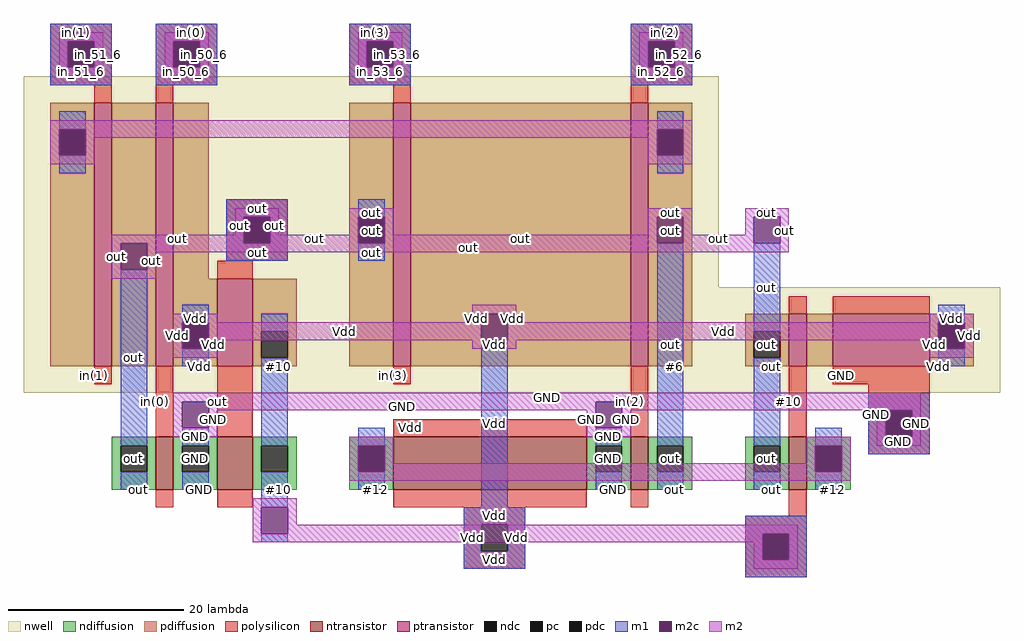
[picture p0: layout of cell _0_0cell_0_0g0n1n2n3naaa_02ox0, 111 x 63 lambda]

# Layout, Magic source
magic
tech sky130l
<< nwell >>
rect 5 37 84 61
rect 5 25 116 37
<< ndiffusion >>
rect 15 19 20 20
rect 15 16 16 19
rect 19 16 20 19
rect 15 14 20 16
rect 22 19 27 20
rect 22 16 23 19
rect 26 16 27 19
rect 22 14 27 16
rect 31 19 36 20
rect 31 16 32 19
rect 35 16 36 19
rect 31 14 36 16
rect 42 19 47 20
rect 42 16 43 19
rect 46 16 47 19
rect 42 14 47 16
rect 69 19 74 20
rect 69 16 70 19
rect 73 16 74 19
rect 69 14 74 16
rect 76 19 81 20
rect 76 16 77 19
rect 80 16 81 19
rect 76 14 81 16
rect 87 19 92 20
rect 87 16 88 19
rect 91 16 92 19
rect 87 14 92 16
rect 94 19 99 20
rect 94 16 95 19
rect 98 16 99 19
rect 94 14 99 16
<< ndc >>
rect 16 16 19 19
rect 23 16 26 19
rect 32 16 35 19
rect 43 16 46 19
rect 70 16 73 19
rect 77 16 80 19
rect 88 16 91 19
rect 95 16 98 19
<< ntransistor >>
rect 20 14 22 20
rect 27 14 31 20
rect 47 14 69 20
rect 74 14 76 20
rect 92 14 94 20
<< pdiffusion >>
rect 8 55 13 58
rect 8 52 9 55
rect 12 52 13 55
rect 8 28 13 52
rect 15 28 20 58
rect 22 38 26 58
rect 42 45 47 58
rect 42 42 43 45
rect 46 42 47 45
rect 22 33 27 38
rect 22 30 23 33
rect 26 30 27 33
rect 22 28 27 30
rect 31 32 36 38
rect 31 29 32 32
rect 35 29 36 32
rect 31 28 36 29
rect 42 28 47 42
rect 49 28 74 58
rect 76 55 81 58
rect 76 52 77 55
rect 80 52 81 55
rect 76 28 81 52
rect 87 32 92 34
rect 87 29 88 32
rect 91 29 92 32
rect 87 28 92 29
rect 94 28 97 34
rect 108 33 113 34
rect 108 30 109 33
rect 112 30 113 33
rect 108 28 113 30
<< pdc >>
rect 9 52 12 55
rect 43 42 46 45
rect 23 30 26 33
rect 32 29 35 32
rect 77 52 80 55
rect 88 29 91 32
rect 109 30 112 33
<< ptransistor >>
rect 13 28 15 58
rect 20 28 22 58
rect 27 28 31 38
rect 47 28 49 58
rect 74 28 76 58
rect 92 28 94 34
rect 97 28 108 34
<< polysilicon >>
rect 8 65 15 67
rect 8 62 10 65
rect 13 62 15 65
rect 8 60 15 62
rect 13 58 15 60
rect 20 65 27 67
rect 20 62 22 65
rect 25 62 27 65
rect 20 60 27 62
rect 42 65 49 67
rect 42 62 44 65
rect 47 62 49 65
rect 42 60 49 62
rect 20 58 22 60
rect 47 58 49 60
rect 74 65 81 67
rect 74 62 76 65
rect 79 62 81 65
rect 74 60 81 62
rect 74 58 76 60
rect 28 45 35 47
rect 28 42 30 45
rect 33 42 35 45
rect 28 40 35 42
rect 27 38 31 40
rect 92 34 94 36
rect 97 34 108 36
rect 13 26 15 28
rect 20 20 22 28
rect 27 20 31 28
rect 47 26 49 28
rect 47 20 69 22
rect 74 20 76 28
rect 92 20 94 28
rect 97 26 108 28
rect 101 23 108 26
rect 101 20 103 23
rect 106 20 108 23
rect 101 18 108 20
rect 20 12 22 14
rect 27 12 31 14
rect 47 12 69 14
rect 74 12 76 14
rect 55 10 62 12
rect 92 11 94 14
rect 55 7 57 10
rect 60 7 62 10
rect 55 5 62 7
rect 87 9 94 11
rect 87 6 89 9
rect 92 6 94 9
rect 87 4 94 6
<< pc >>
rect 10 62 13 65
rect 22 62 25 65
rect 44 62 47 65
rect 76 62 79 65
rect 30 42 33 45
rect 103 20 106 23
rect 57 7 60 10
rect 89 6 92 9
<< m1 >>
rect 8 65 15 67
rect 8 62 10 65
rect 13 62 15 65
rect 8 60 15 62
rect 20 65 27 67
rect 20 62 22 65
rect 25 62 27 65
rect 20 60 27 62
rect 42 65 49 67
rect 42 62 44 65
rect 47 62 49 65
rect 42 60 49 62
rect 74 65 81 67
rect 74 62 76 65
rect 79 62 81 65
rect 74 60 81 62
rect 9 55 12 57
rect 9 50 12 52
rect 77 55 80 57
rect 77 50 80 52
rect 28 45 35 47
rect 28 42 30 45
rect 33 42 35 45
rect 28 40 35 42
rect 43 45 46 47
rect 43 40 46 42
rect 16 19 19 39
rect 23 33 26 35
rect 23 28 26 30
rect 32 32 35 34
rect 16 14 19 16
rect 23 19 26 21
rect 23 14 26 16
rect 32 19 35 29
rect 32 12 35 16
rect 43 19 46 21
rect 43 14 46 16
rect 57 12 60 31
rect 70 19 73 21
rect 70 14 73 16
rect 77 19 80 42
rect 77 14 80 16
rect 88 32 91 42
rect 88 19 91 29
rect 109 33 112 35
rect 109 28 112 30
rect 101 23 108 25
rect 88 14 91 16
rect 95 19 98 21
rect 101 20 103 23
rect 106 20 108 23
rect 101 18 108 20
rect 95 14 98 16
rect 32 8 35 9
rect 55 10 62 12
rect 55 7 57 10
rect 60 7 62 10
rect 55 5 62 7
rect 87 9 94 11
rect 87 6 89 9
rect 92 6 94 9
rect 87 4 94 6
<< m2c >>
rect 10 62 13 65
rect 22 62 25 65
rect 44 62 47 65
rect 76 62 79 65
rect 9 52 12 55
rect 77 52 80 55
rect 30 42 33 45
rect 16 39 19 42
rect 43 42 46 45
rect 77 42 80 45
rect 23 30 26 33
rect 23 21 26 24
rect 57 31 60 34
rect 43 16 46 19
rect 70 21 73 24
rect 88 42 91 45
rect 109 30 112 33
rect 95 16 98 19
rect 103 20 106 23
rect 32 9 35 12
rect 89 6 92 9
<< m2 >>
rect 9 65 14 66
rect 9 62 10 65
rect 13 62 14 65
rect 9 61 14 62
rect 21 65 26 66
rect 21 62 22 65
rect 25 62 26 65
rect 21 61 26 62
rect 43 65 48 66
rect 43 62 44 65
rect 47 62 48 65
rect 43 61 48 62
rect 75 65 80 66
rect 75 62 76 65
rect 79 62 80 65
rect 75 61 80 62
rect 8 55 81 56
rect 8 52 9 55
rect 12 54 77 55
rect 12 52 13 54
rect 8 51 13 52
rect 76 52 77 54
rect 80 52 81 55
rect 76 51 81 52
rect 29 45 34 46
rect 29 43 30 45
rect 15 42 30 43
rect 33 43 34 45
rect 42 45 47 46
rect 42 43 43 45
rect 33 42 43 43
rect 46 43 47 45
rect 76 45 81 46
rect 76 43 77 45
rect 46 42 77 43
rect 80 43 81 45
rect 87 45 92 46
rect 87 43 88 45
rect 80 42 88 43
rect 91 42 92 45
rect 15 39 16 42
rect 19 41 92 42
rect 19 39 20 41
rect 15 38 20 39
rect 56 34 61 35
rect 22 33 27 34
rect 56 33 57 34
rect 22 30 23 33
rect 26 31 57 33
rect 60 33 61 34
rect 108 33 113 34
rect 60 31 109 33
rect 26 30 27 31
rect 56 30 61 31
rect 108 30 109 31
rect 112 30 113 33
rect 22 29 27 30
rect 108 29 113 30
rect 22 24 107 25
rect 22 21 23 24
rect 26 23 70 24
rect 26 21 27 23
rect 22 20 27 21
rect 69 21 70 23
rect 73 23 107 24
rect 73 21 74 23
rect 101 22 103 23
rect 69 20 74 21
rect 102 20 103 22
rect 106 20 107 23
rect 42 19 47 20
rect 42 16 43 19
rect 46 17 47 19
rect 94 19 99 20
rect 102 19 107 20
rect 94 17 95 19
rect 46 16 95 17
rect 98 16 99 19
rect 42 15 99 16
rect 31 12 36 13
rect 31 9 32 12
rect 35 10 36 12
rect 35 9 93 10
rect 31 8 89 9
rect 88 6 89 8
rect 92 6 93 9
rect 88 5 93 6
<< labels >>
flabel polysilicon 92 24 92 24 3 FreeSerif 8 0 0 0 #10
flabel polysilicon 98 27 98 27 3 FreeSerif 8 0 0 0 GND
flabel pdiffusion 109 28 109 28 1 FreeSerif 8 0 0 0 Vdd
flabel ndiffusion 97 14 97 14 1 FreeSerif 8 0 0 0 #12
flabel ndiffusion 90 14 90 14 1 FreeSerif 8 0 0 0 out
flabel ndiffusion 79 14 79 14 1 FreeSerif 8 0 0 0 out
flabel ndiffusion 72 14 72 14 1 FreeSerif 8 0 0 0 GND
flabel polysilicon 49 21 49 21 1 FreeSerif 8 0 0 0 Vdd
flabel ndiffusion 45 14 45 14 1 FreeSerif 8 0 0 0 #12
flabel ndiffusion 34 14 34 14 1 FreeSerif 8 0 0 0 #10
flabel ndiffusion 25 14 25 14 1 FreeSerif 8 0 0 0 GND
flabel ndiffusion 18 14 18 14 1 FreeSerif 8 0 0 0 out
flabel polysilicon 13 27 13 27 3 FreeSerif 8 0 0 0 in(1)
flabel polysilicon 20 24 20 24 3 FreeSerif 8 0 0 0 in(0)
flabel polysilicon 27 24 27 24 3 FreeSerif 8 0 0 0 out
flabel polysilicon 47 27 47 27 3 FreeSerif 8 0 0 0 in(3)
flabel pdiffusion 45 28 45 28 1 FreeSerif 8 0 0 0 out
flabel pdiffusion 25 28 25 28 1 FreeSerif 8 0 0 0 Vdd
flabel pdiffusion 11 28 11 28 1 FreeSerif 8 0 0 0 #6
flabel pdiffusion 34 28 34 28 1 FreeSerif 8 0 0 0 #10
flabel pdiffusion 79 28 79 28 1 FreeSerif 8 0 0 0 #6
flabel pdiffusion 90 28 90 28 1 FreeSerif 8 0 0 0 out
flabel polysilicon 74 24 74 24 3 FreeSerif 8 0 0 0 in(2)
flabel m2 s 106 20 107 23 3 FreeSerif 8 0 0 0 GND
port 1 nsew ground input
flabel m2 s 56 30 61 31 1 FreeSerif 8 0 0 0 Vdd
port 2 nsew power input
flabel m2 45 66 45 66 1 FreeSerif 8 0 0 0 in(3)
port 3 n
flabel m2 78 66 78 66 1 FreeSerif 8 0 0 0 in(2)
port 4 n
flabel m2 11 66 11 66 1 FreeSerif 8 0 0 0 in(1)
port 5 n
flabel m2 s 87 45 92 46 1 FreeSerif 8 0 0 0 out
port 6 nsew signal output
flabel m2 24 66 24 66 1 FreeSerif 8 0 0 0 in(0)
port 7 n
rlabel m2 s 25 62 26 65 5 in_50_6
port 1 nsew signal input
rlabel m2 s 22 62 25 65 5 in_50_6
port 1 nsew signal input
rlabel m2 s 21 62 22 65 5 in_50_6
port 1 nsew signal input
rlabel m2 s 21 61 26 62 1 in_50_6
port 1 nsew signal input
rlabel m2 s 21 65 26 66 5 in_50_6
port 1 nsew signal input
rlabel m1 s 25 62 27 65 5 in_50_6
port 1 nsew signal input
rlabel m1 s 22 62 25 65 5 in_50_6
port 1 nsew signal input
rlabel m1 s 20 60 27 62 1 in_50_6
port 1 nsew signal input
rlabel m1 s 20 62 22 65 5 in_50_6
port 1 nsew signal input
rlabel m1 s 20 65 27 67 5 in_50_6
port 1 nsew signal input
rlabel m2 s 13 62 14 65 5 in_51_6
port 2 nsew signal input
rlabel m2 s 10 62 13 65 5 in_51_6
port 2 nsew signal input
rlabel m2 s 9 61 14 62 1 in_51_6
port 2 nsew signal input
rlabel m2 s 9 62 10 65 4 in_51_6
port 2 nsew signal input
rlabel m2 s 9 65 14 66 5 in_51_6
port 2 nsew signal input
rlabel m1 s 13 62 15 65 5 in_51_6
port 2 nsew signal input
rlabel m1 s 10 62 13 65 5 in_51_6
port 2 nsew signal input
rlabel m1 s 8 60 15 62 1 in_51_6
port 2 nsew signal input
rlabel m1 s 8 62 10 65 4 in_51_6
port 2 nsew signal input
rlabel m1 s 8 65 15 67 5 in_51_6
port 2 nsew signal input
rlabel m2 s 79 62 80 65 5 in_52_6
port 3 nsew signal input
rlabel m2 s 76 62 79 65 5 in_52_6
port 3 nsew signal input
rlabel m2 s 75 62 76 65 5 in_52_6
port 3 nsew signal input
rlabel m2 s 75 61 80 62 1 in_52_6
port 3 nsew signal input
rlabel m2 s 75 65 80 66 5 in_52_6
port 3 nsew signal input
rlabel m1 s 79 62 81 65 5 in_52_6
port 3 nsew signal input
rlabel m1 s 76 62 79 65 5 in_52_6
port 3 nsew signal input
rlabel m1 s 74 60 81 62 1 in_52_6
port 3 nsew signal input
rlabel m1 s 74 62 76 65 5 in_52_6
port 3 nsew signal input
rlabel m1 s 74 65 81 67 5 in_52_6
port 3 nsew signal input
rlabel m2 s 47 62 48 65 5 in_53_6
port 4 nsew signal input
rlabel m2 s 44 62 47 65 5 in_53_6
port 4 nsew signal input
rlabel m2 s 43 62 44 65 5 in_53_6
port 4 nsew signal input
rlabel m2 s 43 61 48 62 1 in_53_6
port 4 nsew signal input
rlabel m2 s 43 65 48 66 5 in_53_6
port 4 nsew signal input
rlabel m1 s 47 62 49 65 5 in_53_6
port 4 nsew signal input
rlabel m1 s 44 62 47 65 5 in_53_6
port 4 nsew signal input
rlabel m1 s 42 60 49 62 1 in_53_6
port 4 nsew signal input
rlabel m1 s 42 62 44 65 5 in_53_6
port 4 nsew signal input
rlabel m1 s 42 65 49 67 5 in_53_6
port 4 nsew signal input
rlabel m2 s 91 42 92 45 1 out
port 6 nsew signal output
rlabel m2 s 87 43 88 45 1 out
port 6 nsew signal output
rlabel m2 s 88 42 91 45 1 out
port 6 nsew signal output
rlabel m2 s 76 45 81 46 1 out
port 6 nsew signal output
rlabel m2 s 80 42 88 43 1 out
port 6 nsew signal output
rlabel m2 s 80 43 81 45 1 out
port 6 nsew signal output
rlabel m2 s 76 43 77 45 1 out
port 6 nsew signal output
rlabel m2 s 77 42 80 45 1 out
port 6 nsew signal output
rlabel m2 s 42 45 47 46 1 out
port 6 nsew signal output
rlabel m2 s 46 42 77 43 1 out
port 6 nsew signal output
rlabel m2 s 46 43 47 45 1 out
port 6 nsew signal output
rlabel m2 s 42 43 43 45 1 out
port 6 nsew signal output
rlabel m2 s 43 42 46 45 1 out
port 6 nsew signal output
rlabel m2 s 29 43 30 45 1 out
port 6 nsew signal output
rlabel m2 s 29 45 34 46 1 out
port 6 nsew signal output
rlabel m2 s 19 39 20 41 1 out
port 6 nsew signal output
rlabel m2 s 19 41 92 42 1 out
port 6 nsew signal output
rlabel m2 s 33 42 43 43 1 out
port 6 nsew signal output
rlabel m2 s 33 43 34 45 1 out
port 6 nsew signal output
rlabel m2 s 16 39 19 42 1 out
port 6 nsew signal output
rlabel m2 s 30 42 33 45 1 out
port 6 nsew signal output
rlabel m2 s 15 38 20 39 1 out
port 6 nsew signal output
rlabel m2 s 15 39 16 42 1 out
port 6 nsew signal output
rlabel m2 s 15 42 30 43 1 out
port 6 nsew signal output
rlabel m1 s 88 16 91 19 1 out
port 6 nsew signal output
rlabel m1 s 88 19 91 29 1 out
port 6 nsew signal output
rlabel m1 s 88 29 91 32 1 out
port 6 nsew signal output
rlabel m1 s 88 32 91 42 1 out
port 6 nsew signal output
rlabel m1 s 88 42 91 45 1 out
port 6 nsew signal output
rlabel m1 s 43 40 46 42 1 out
port 6 nsew signal output
rlabel m1 s 43 42 46 45 1 out
port 6 nsew signal output
rlabel m1 s 43 45 46 47 1 out
port 6 nsew signal output
rlabel m1 s 88 14 91 16 1 out
port 6 nsew signal output
rlabel m1 s 77 16 80 19 1 out
port 6 nsew signal output
rlabel m1 s 77 19 80 42 1 out
port 6 nsew signal output
rlabel m1 s 77 42 80 45 1 out
port 6 nsew signal output
rlabel m1 s 33 42 35 45 1 out
port 6 nsew signal output
rlabel m1 s 77 14 80 16 1 out
port 6 nsew signal output
rlabel m1 s 30 42 33 45 1 out
port 6 nsew signal output
rlabel m1 s 28 40 35 42 1 out
port 6 nsew signal output
rlabel m1 s 28 42 30 45 1 out
port 6 nsew signal output
rlabel m1 s 28 45 35 47 1 out
port 6 nsew signal output
rlabel m1 s 16 14 19 16 1 out
port 6 nsew signal output
rlabel m1 s 16 16 19 19 1 out
port 6 nsew signal output
rlabel m1 s 16 19 19 39 1 out
port 6 nsew signal output
rlabel m1 s 16 39 19 42 1 out
port 6 nsew signal output
rlabel m2 s 56 33 57 34 1 Vdd
port 2 nsew power input
rlabel m2 s 56 34 61 35 1 Vdd
port 2 nsew power input
rlabel m2 s 108 33 113 34 1 Vdd
port 2 nsew power input
rlabel m2 s 112 30 113 33 7 Vdd
port 2 nsew power input
rlabel m2 s 60 31 109 33 1 Vdd
port 2 nsew power input
rlabel m2 s 60 33 61 34 1 Vdd
port 2 nsew power input
rlabel m2 s 109 30 112 33 1 Vdd
port 2 nsew power input
rlabel m2 s 57 31 60 34 1 Vdd
port 2 nsew power input
rlabel m2 s 108 29 113 30 1 Vdd
port 2 nsew power input
rlabel m2 s 108 30 109 31 1 Vdd
port 2 nsew power input
rlabel m2 s 26 30 27 31 1 Vdd
port 2 nsew power input
rlabel m2 s 26 31 57 33 1 Vdd
port 2 nsew power input
rlabel m2 s 23 30 26 33 1 Vdd
port 2 nsew power input
rlabel m2 s 22 29 27 30 1 Vdd
port 2 nsew power input
rlabel m2 s 22 30 23 33 1 Vdd
port 2 nsew power input
rlabel m2 s 22 33 27 34 1 Vdd
port 2 nsew power input
rlabel m1 s 109 28 112 30 1 Vdd
port 2 nsew power input
rlabel m1 s 109 30 112 33 1 Vdd
port 2 nsew power input
rlabel m1 s 109 33 112 35 1 Vdd
port 2 nsew power input
rlabel m1 s 57 31 60 34 1 Vdd
port 2 nsew power input
rlabel m1 s 60 7 62 10 1 Vdd
port 2 nsew power input
rlabel m1 s 23 28 26 30 1 Vdd
port 2 nsew power input
rlabel m1 s 23 30 26 33 1 Vdd
port 2 nsew power input
rlabel m1 s 23 33 26 35 1 Vdd
port 2 nsew power input
rlabel m1 s 57 7 60 10 1 Vdd
port 2 nsew power input
rlabel m1 s 55 10 62 12 1 Vdd
port 2 nsew power input
rlabel m1 s 57 12 60 31 1 Vdd
port 2 nsew power input
rlabel m1 s 55 5 62 7 1 Vdd
port 2 nsew power input
rlabel m1 s 55 7 57 10 1 Vdd
port 2 nsew power input
rlabel m2 s 103 20 106 23 1 GND
port 1 nsew ground input
rlabel m2 s 102 19 107 20 1 GND
port 1 nsew ground input
rlabel m2 s 102 20 103 22 1 GND
port 1 nsew ground input
rlabel m2 s 101 22 103 23 1 GND
port 1 nsew ground input
rlabel m2 s 73 21 74 23 1 GND
port 1 nsew ground input
rlabel m2 s 73 23 107 24 1 GND
port 1 nsew ground input
rlabel m2 s 70 21 73 24 1 GND
port 1 nsew ground input
rlabel m2 s 69 20 74 21 1 GND
port 1 nsew ground input
rlabel m2 s 69 21 70 23 1 GND
port 1 nsew ground input
rlabel m2 s 26 21 27 23 1 GND
port 1 nsew ground input
rlabel m2 s 26 23 70 24 1 GND
port 1 nsew ground input
rlabel m2 s 23 21 26 24 1 GND
port 1 nsew ground input
rlabel m2 s 22 20 27 21 1 GND
port 1 nsew ground input
rlabel m2 s 22 21 23 24 1 GND
port 1 nsew ground input
rlabel m2 s 22 24 107 25 1 GND
port 1 nsew ground input
rlabel m1 s 106 20 108 23 1 GND
port 1 nsew ground input
rlabel m1 s 103 20 106 23 1 GND
port 1 nsew ground input
rlabel m1 s 101 18 108 20 1 GND
port 1 nsew ground input
rlabel m1 s 101 20 103 23 1 GND
port 1 nsew ground input
rlabel m1 s 101 23 108 25 1 GND
port 1 nsew ground input
rlabel m1 s 70 14 73 16 1 GND
port 1 nsew ground input
rlabel m1 s 70 16 73 19 1 GND
port 1 nsew ground input
rlabel m1 s 70 19 73 21 1 GND
port 1 nsew ground input
rlabel m1 s 70 21 73 24 1 GND
port 1 nsew ground input
rlabel m1 s 23 16 26 19 1 GND
port 1 nsew ground input
rlabel m1 s 23 19 26 21 1 GND
port 1 nsew ground input
rlabel m1 s 23 21 26 24 1 GND
port 1 nsew ground input
rlabel m1 s 23 14 26 16 1 GND
port 1 nsew ground input
<< properties >>
string FIXED_BBOX 0 0 120 72
string LEFclass CORE
string LEFsite CoreSite
string LEFsymmetry X Y
<< end >>
